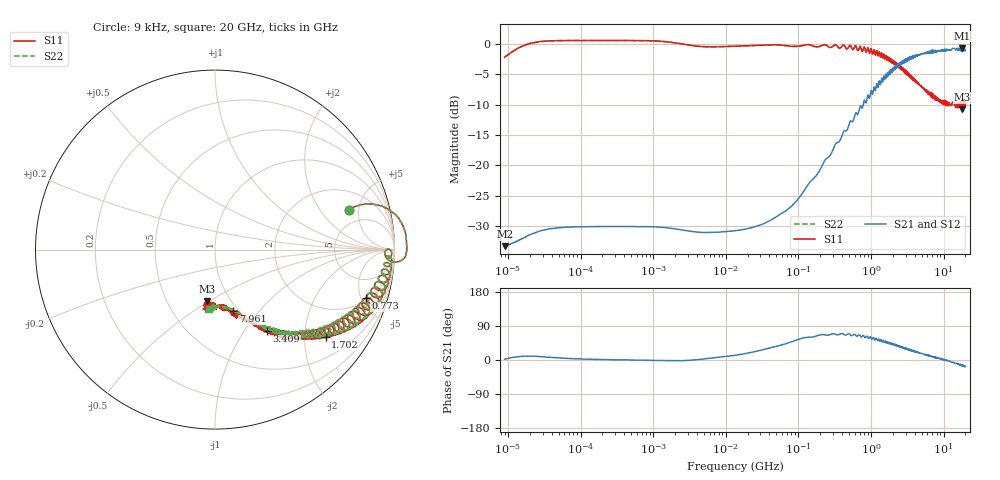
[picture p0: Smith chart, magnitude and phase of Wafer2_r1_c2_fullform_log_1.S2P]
!  2-Port S-parameters saved by WinCal
! VAR MeasName=S-Parameters (CALIBRATED_DATA) read from VNA (P5004A)
! VAR MeasDate=26/04/2024 19:13:59
! VAR NAME=Wafer2_r1_c2_fullform_log
! VAR FILENAME=Wafer2_r1_c2_fullform_log_1.S2P
! VAR DATE=26/04/2024 19:13:59
! VAR PHYS_PORTS=1,2
! VAR ObjTypeName=DATASET
! VAR IndexType=Frequency
# Hz S MA R 50
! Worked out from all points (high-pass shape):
!   2000 points, 9 kHz to 20 GHz, reference 50 ohm
!   highest |S21| = -0.66 dB at 18.05 GHz (marker M1); lowest = -33.3 dB at 9.133 kHz (marker M2)
!   |S21| within 3 dB of the highest: 2.263 GHz to 2.313 GHz (50.36 MHz wide, 2.2 % of centre); 2.35 GHz to end of sweep (the widest 2 of 3)
!   lowest |S11| = -10.7 dB at 18.19 GHz (marker M3), VSWR 1.82, Z = 38.9 - j24.4 ohm
!   |S11| at or under -10 dB: 12.24 GHz to 12.83 GHz (588.3 MHz wide, 4.69 % of centre); 14.37 GHz to 15.17 GHz (791.5 MHz wide, 5.36 % of centre); 15.46 GHz to 15.93 GHz (466.6 MHz wide, 2.97 % of centre) (the widest 3 of 17)
!   |S22| runs from -10.4 to 0.6 dB; largest |S21 - S12| = 0.037
!   S11 on the Smith chart (normalised r, x): 9 kHz: 3.47, +3.91; 773 MHz: 2.23, -5.45; 1.702 GHz: 0.99, -2.53; 3.409 GHz: 1.00, -1.28; 7.961 GHz: 0.94, -0.74; 20 GHz: 0.76, -0.52
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9000  0.7787 16.5  0.02164 2.3  0.02197 1.4  0.7785 16.5
9132.559  0.7833 16.6  0.0216 2.6  0.02209 1.5  0.7828 16.6
14160.92  0.9317 15.6  0.02413 8.9  0.02448 8.3  0.9309 15.6
26361.17  1.041 9.3  0.02852 9.4  0.02871 9.1  1.041 9.3
103439.5  1.068 2.0  0.0312 2.6  0.03148 2.6  1.067 2.0
1180198  1.056 -2.5  0.03106 -1.4  0.03128 -1.3  1.056 -2.5
4530556  0.9533 -2.5  0.02806 1.8  0.02838 1.7  0.953 -2.5
1.346554e7  0.9583 0.1  0.02902 12.5  0.02919 12.0  0.9582 0.1
5.440579e7  0.982 -2.1  0.03894 38.0  0.03855 38.0  0.9825 -2.0
8.879099e7  0.9539 -2.5  0.04881 50.7  0.04912 51.2  0.9539 -2.4
1.536358e8  0.9718 -5.5  0.07559 60.4  0.07483 60.5  0.9724 -5.4
2.966476e8  0.9547 -6.6  0.1323 69.2  0.1335 69.1  0.9543 -6.5
7.729713e8  0.8817 -17.9  0.3066 64.2  0.3074 64.3  0.8823 -17.7
1.043128e9  0.8337 -27.5  0.3862 55.7  0.3863 55.7  0.8353 -27.1
1.702399e9  0.7868 -38.4  0.5842 45.3  0.5807 45.4  0.7894 -37.4
1.752917e9  0.7283 -37.1  0.5514 46.4  0.5541 46.3  0.7279 -36.6
3.409452e9  0.5398 -57.5  0.7475 25.2  0.745 25.4  0.5471 -55.9
7.96127e9  0.3572 -73.5  0.8762 7.0  0.8851 6.8  0.3623 -72.7
1.35755e10  0.3314 -88.3  0.9211 -6.0  0.9176 -6.9  0.3155 -85.6
1.805428e10  0.3497 -98.5  0.9268 -14.5  0.9003 -16.1  0.3028 -91.7
1.818676e10  0.2902 -99.1  0.8818 -16.1  0.8698 -13.9  0.3322 -90.8
2e10  0.3128 -98.3  0.8823 -16.9  0.8954 -16.2  0.3353 -95.7
